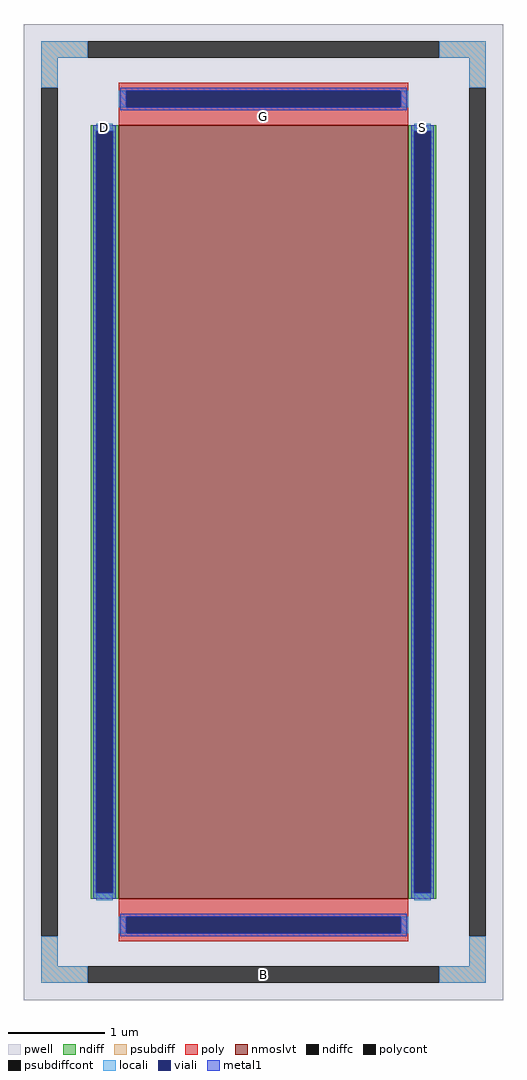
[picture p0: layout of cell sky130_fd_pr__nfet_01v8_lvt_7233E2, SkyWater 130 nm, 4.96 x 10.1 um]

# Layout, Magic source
magic
tech sky130A
<< pwell >>
rect -248 -505 248 505
<< nmoslvt >>
rect -150 -400 150 400
<< ndiff >>
rect -179 394 -150 400
rect -179 -394 -173 394
rect -156 -394 -150 394
rect -179 -400 -150 -394
rect 150 394 179 400
rect 150 -394 156 394
rect 173 -394 179 394
rect 150 -400 179 -394
<< ndiffc >>
rect -173 -394 -156 394
rect 156 -394 173 394
<< psubdiff >>
rect -230 470 -182 487
rect 182 470 230 487
rect -230 439 -213 470
rect 213 439 230 470
rect -230 -470 -213 -439
rect 213 -470 230 -439
rect -230 -487 -182 -470
rect 182 -487 230 -470
<< psubdiffcont >>
rect -182 470 182 487
rect -230 -439 -213 439
rect 213 -439 230 439
rect -182 -487 182 -470
<< poly >>
rect -150 436 150 444
rect -150 419 -142 436
rect 142 419 150 436
rect -150 400 150 419
rect -150 -419 150 -400
rect -150 -436 -142 -419
rect 142 -436 150 -419
rect -150 -444 150 -436
<< polycont >>
rect -142 419 142 436
rect -142 -436 142 -419
<< locali >>
rect -230 470 -182 487
rect 182 470 230 487
rect -230 439 -213 470
rect 213 439 230 470
rect -150 419 -142 436
rect 142 419 150 436
rect -173 394 -156 402
rect -173 -402 -156 -394
rect 156 394 173 402
rect 156 -402 173 -394
rect -150 -436 -142 -419
rect 142 -436 150 -419
rect -230 -470 -213 -439
rect 213 -470 230 -439
rect -230 -487 -182 -470
rect 182 -487 230 -470
<< viali >>
rect -142 419 142 436
rect -173 -394 -156 394
rect 156 -394 173 394
rect -142 -436 142 -419
<< metal1 >>
rect -148 436 148 439
rect -148 419 -142 436
rect 142 419 148 436
rect -148 416 148 419
rect -176 394 -153 400
rect -176 -394 -173 394
rect -156 -394 -153 394
rect -176 -400 -153 -394
rect 153 394 176 400
rect 153 -394 156 394
rect 173 -394 176 394
rect 153 -400 176 -394
rect -148 -419 148 -416
rect -148 -436 -142 -419
rect 142 -436 148 -419
rect -148 -439 148 -436
<< labels >>
rlabel locali -173 394 -156 402 1 D
rlabel poly -150 400 150 419 1 G
rlabel locali 156 394 173 402 1 S
rlabel psubdiffcont -182 -487 182 -470 1 B
<< properties >>
string FIXED_BBOX -221 -478 221 478
string gencell sky130_fd_pr__nfet_01v8_lvt
string library sky130
string parameters w 8.0 l 3.0 m 1 nf 1 diffcov 100 polycov 100 guard 1 glc 1 grc 1 gtc 1 gbc 1 tbcov 100 rlcov 100 topc 1 botc 1 poverlap 0 doverlap 1 lmin 0.15 wmin 0.42 compatible {sky130_fd_pr__nfet_01v8 sky130_fd_pr__nfet_01v8_lvt  sky130_fd_bs_flash__special_sonosfet_star  sky130_fd_pr__nfet_g5v0d10v5 sky130_fd_pr__nfet_05v0_nvt  sky130_fd_pr__nfet_03v3_nvt} full_metal 1 viasrc 100 viadrn 100 viagate 100 viagb 0 viagr 0 viagl 0 viagt 0
<< end >>
